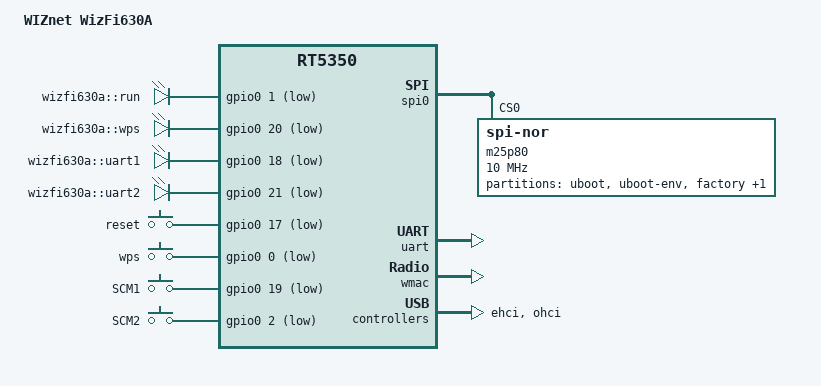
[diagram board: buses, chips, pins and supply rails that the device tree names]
/dts-v1/;

#include "rt5350.dtsi"

#include <dt-bindings/gpio/gpio.h>
#include <dt-bindings/input/input.h>

/ {
	compatible = "wiznet,wizfi630a", "ralink,rt5350-soc";
	model = "WIZnet WizFi630A";

	chosen {
		bootargs = "console=ttyS1,115200";
	};

	gpio-leds {
		compatible = "gpio-leds";

		run {
			label = "wizfi630a::run";
			gpios = <&gpio0 1 GPIO_ACTIVE_LOW>;
		};

		wps {
			label = "wizfi630a::wps";
			gpios = <&gpio0 20 GPIO_ACTIVE_LOW>;
		};

		uart1 {
			label = "wizfi630a::uart1";
			gpios = <&gpio0 18 GPIO_ACTIVE_LOW>;
		};

		uart2 {
			label = "wizfi630a::uart2";
			gpios = <&gpio0 21 GPIO_ACTIVE_LOW>;
		};
	};

	gpio-keys-polled {
		compatible = "gpio-keys-polled";
		#address-cells = <1>;
		#size-cells = <0>;
		poll-interval = <20>;

		reset {
			label = "reset";
			gpios = <&gpio0 17 GPIO_ACTIVE_LOW>;
			linux,code = <KEY_RESTART>;
		};

		wps {
			label = "wps";
			gpios = <&gpio0 0 GPIO_ACTIVE_LOW>;
			linux,code = <KEY_WPS_BUTTON>;
		};
		
		scm1 {
			label = "SCM1";
			gpios = <&gpio0 19 GPIO_ACTIVE_LOW>;
			linux,code = <BTN_0>;
		};

		scm2 {
			label = "SCM2";
			gpios = <&gpio0 2 GPIO_ACTIVE_LOW>;
			linux,code = <BTN_1>;
		};
	};
};

&gpio1 {
	status = "okay";
};

&spi0 {
	status = "okay";

	m25p80@0 {
		#address-cells = <1>;
		#size-cells = <1>;
		compatible = "jedec,spi-nor";
		reg = <0>;
		spi-max-frequency = <10000000>;

		partition@0 {
			#size-cells = <1>;
			label = "uboot";
			reg = <0x0 0x30000>;
			read-only;
		};

		partition@30000 {
			#size-cells = <1>;
			label = "uboot-env";
			reg = <0x30000 0x10000>;
			read-only;
		};

		factory: partition@40000 {
			#size-cells = <1>;
			label = "factory";
			reg = <0x40000 0x10000>;
			read-only;
		};

		partition@50000 {
			#size-cells = <1>;
			label = "firmware";
			reg = <0x50000 0xfb0000>;
		};
	};
};

&uart {
	status = "okay";
	pinctrl-names = "default";
	pinctrl-0 = <&uartf_pins>;
};

&pinctrl {
	state_default: pinctrl0 {
		gpio {
			ralink,group = "i2c", "jtag" ;
			ralink,function = "gpio";
		};
	};
};

&ethernet {
	mtd-mac-address = <&factory 0x4>;
};

&esw {
	mediatek,portmap = <0x17>;
};

&wmac {
	ralink,mtd-eeprom = <&factory 0>;
};

&ehci {
	status = "okay";
};

&ohci {
	status = "okay";
};
